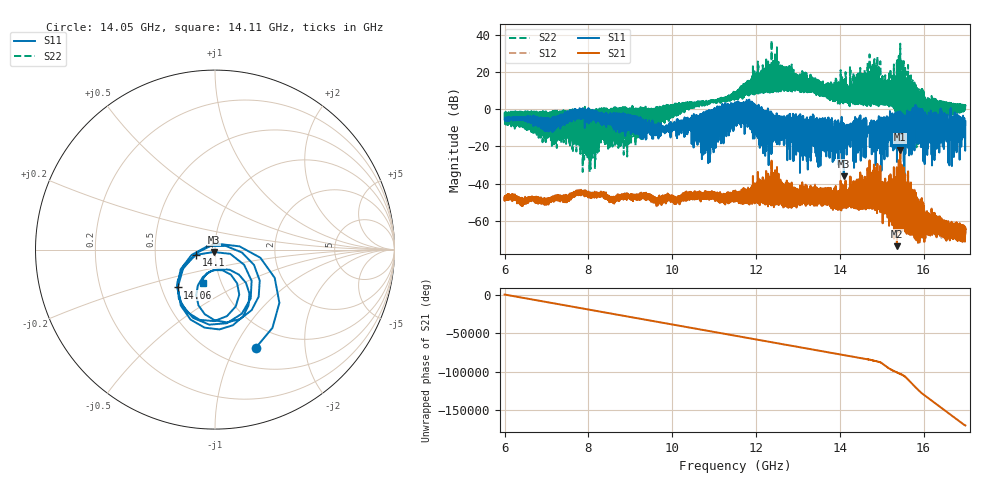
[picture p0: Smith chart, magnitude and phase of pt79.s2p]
#  HZ  S  RI  R  50.00
! Rohde & Schwarz Vector Network Analyzer
! Rohde-Schwarz,ZNA67-2Port,1332450062101215,3.01
! Created: UTC 10/19/2026, 9:41:16 AM
! freq[Hz]  re:S11  im:S11  re:S21  im:S21  re:S12  im:S12  re:S22  im:S22
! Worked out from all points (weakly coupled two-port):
!   11001 points, 6 GHz to 17 GHz, reference 50 ohm
!   highest |S21| = -21.75 dB at 15.45 GHz (marker M1); lowest = -73.6 dB at 15.37 GHz (marker M2)
!   lowest |S11| = -36.1 dB at 14.1 GHz (marker M3), VSWR 1.03, Z = 49.2 - j1.33 ohm
!   |S11| at or under -10 dB: 14.17559 GHz to 14.2078 GHz (32.21 MHz wide, 0.227 % of centre); 14.63907 GHz to 14.67487 GHz (35.8 MHz wide, 0.244 % of centre); 16.58703 GHz to 16.62196 GHz (34.93 MHz wide, 0.21 % of centre) (the widest 3 of 597)
!   |S22| runs from -33.7 to 36.9 dB; largest |S21 - S12| = 0.0058
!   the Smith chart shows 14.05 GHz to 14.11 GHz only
!   S11 on the Smith chart (normalised r, x): 14.05 GHz: 0.72, -1.22; 14.06 GHz: 0.61, -0.28; 14.1 GHz: 0.81, -0.05; 14.11 GHz: 0.81, -0.32
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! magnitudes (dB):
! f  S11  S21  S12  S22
! 6 GHz  -5.5  -47.8  -47.7  -4.8
! 7.09 GHz  -5.5  -48.1  -48.0  -3.1
! 7.834 GHz  -2.8  -44.2  -44.1  -1.5
! 9.667 GHz  -7.4  -49.0  -49.2  1.0
! 10.74 GHz  -2.3  -47.3  -47.3  3.0
! 11.5 GHz  3.6  -46.9  -46.7  7.3
! 11.8 GHz  -9.1  -43.6  -43.7  15.2
! 12.46 GHz  -8.0  -51.2  -51.0  10.3
! 13.33 GHz  -11.0  -49.2  -48.8  11.8
! 14.05 GHz  -4.5  -50.3  -50.3  5.5
! 14.06 GHz  -10.6  -49.5  -49.4  7.5
! 14.1 GHz  -36.1  -51.2  -51.5  4.0
! 14.1 GHz  -19.2  -49.4  -49.3  5.6
! 14.11 GHz  -14.0  -49.0  -48.9  5.2
! 15.17 GHz  -10.1  -50.7  -50.6  7.0
! 15.37 GHz  -14.4  -73.6  -73.4  -0.2
! 15.45 GHz  -1.6  -21.7  -21.8  35.2
! 15.68 GHz  -1.7  -54.8  -55.0  2.4
! 15.79 GHz  -13.2  -56.4  -55.6  2.9
! 16.05 GHz  -6.2  -57.6  -57.0  3.6
! 16.57 GHz  -2.8  -64.3  -64.2  0.2
! 17 GHz  -6.4  -66.7  -66.2  1.6
